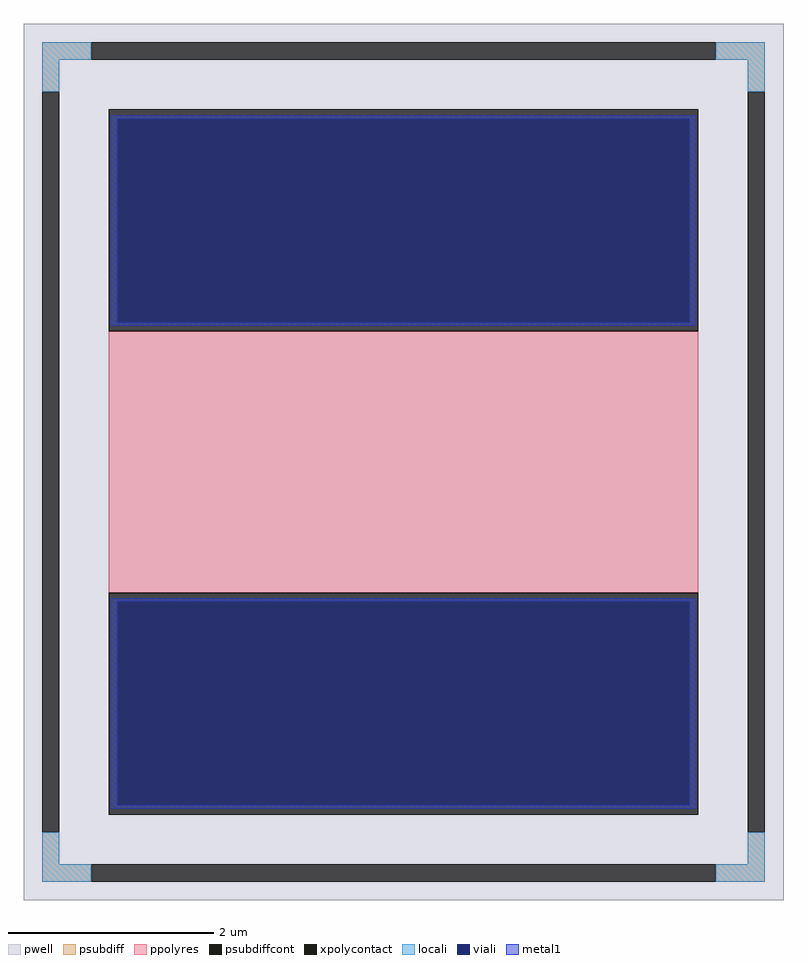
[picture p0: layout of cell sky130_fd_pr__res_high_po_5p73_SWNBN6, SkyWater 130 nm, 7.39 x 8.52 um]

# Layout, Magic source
magic
tech sky130A
magscale 1 2
<< pwell >>
rect -739 -852 739 852
<< psubdiff >>
rect -703 782 -607 816
rect 607 782 703 816
rect -703 720 -669 782
rect 669 720 703 782
rect -703 -782 -669 -720
rect 669 -782 703 -720
rect -703 -816 -607 -782
rect 607 -816 703 -782
<< psubdiffcont >>
rect -607 782 607 816
rect -703 -720 -669 720
rect 669 -720 703 720
rect -607 -816 607 -782
<< xpolycontact >>
rect -573 254 573 686
rect -573 -686 573 -254
<< ppolyres >>
rect -573 -254 573 254
<< locali >>
rect -703 782 -607 816
rect 607 782 703 816
rect -703 720 -669 782
rect 669 720 703 782
rect -703 -782 -669 -720
rect 669 -782 703 -720
rect -703 -816 -607 -782
rect 607 -816 703 -782
<< viali >>
rect -557 271 557 668
rect -557 -668 557 -271
<< metal1 >>
rect -569 668 569 674
rect -569 271 -557 668
rect 557 271 569 668
rect -569 265 569 271
rect -569 -271 569 -265
rect -569 -668 -557 -271
rect 557 -668 569 -271
rect -569 -674 569 -668
<< properties >>
string FIXED_BBOX -686 -799 686 799
string gencell sky130_fd_pr__res_high_po_5p73
string library sky130
string parameters w 5.730 l 2.7 m 1 nx 1 wmin 5.730 lmin 0.50 rho 319.8 val 218.691 dummy 0 dw 0.0 term 194.82 sterm 0.0 caplen 0 guard 1 glc 1 grc 1 gtc 1 gbc 1 compatible {sky130_fd_pr__res_high_po_0p35  sky130_fd_pr__res_high_po_0p69 sky130_fd_pr__res_high_po_1p41  sky130_fd_pr__res_high_po_2p85 sky130_fd_pr__res_high_po_5p73} snake 0 full_metal 1 wmax 5.730 n_guard 0 hv_guard 0 vias 1 viagb 0 viagt 0 viagl 0 viagr 0
<< end >>
